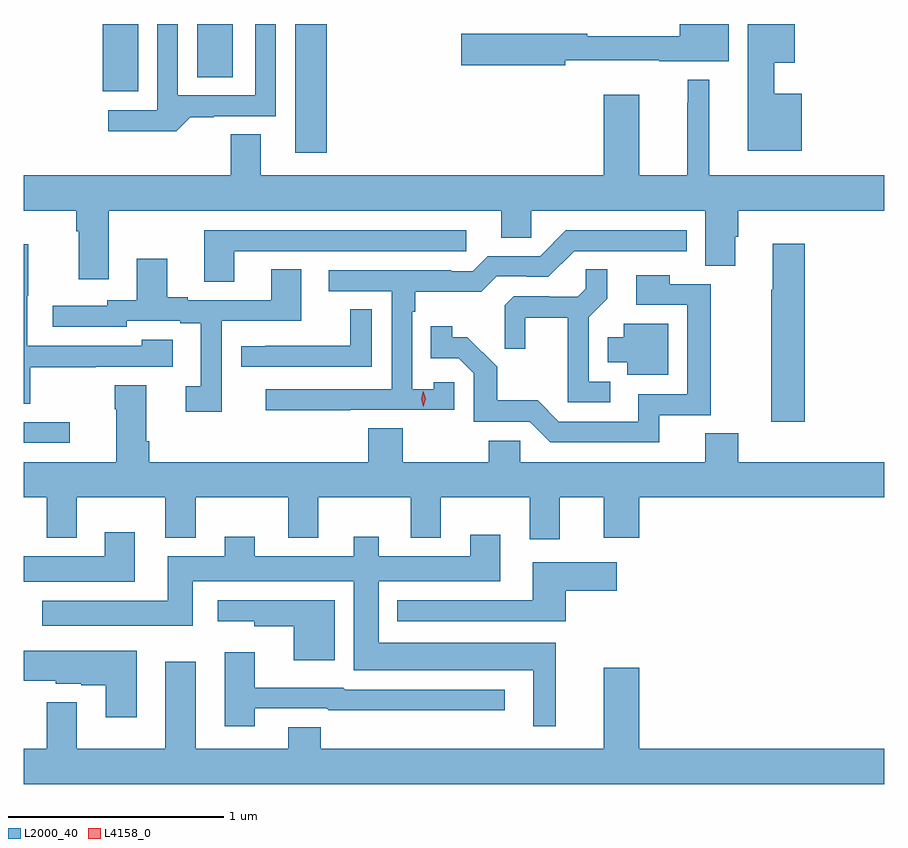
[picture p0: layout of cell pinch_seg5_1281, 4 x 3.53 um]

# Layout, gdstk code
import gdstk
lib = gdstk.Library(unit=1e-6, precision=1e-09)
def R(c, l, rs):  # rectangles x0, y0, x1, y1
    for r in rs: c.add(gdstk.rectangle(r[:2], r[2:], *l))
def P(c, l, *ps):  # polygons
    for p in ps: c.add(gdstk.Polygon(p, *l))
L2000_40 = (2000, 40)
L4158_0 = (4158, 0)

pinch_seg5_1281 = lib.new_cell('pinch_seg5_1281')
R(pinch_seg5_1281, L2000_40, [(426.048,859.677,426.262,859.773), (427.31,861.024,427.457,861.623), (426.416,861.311,426.58,861.623), (426.854,861.376,427.021,861.623)])
P(pinch_seg5_1281, L2000_40, [(426.823,861.19),(426.931,861.19),(426.931,861.195),(427.221,861.195),(427.221,861.623),(427.125,861.623),(427.125,861.291),(426.765,861.291),(426.765,861.623),(426.669,861.623),(426.669,861.222),(426.441,861.222),(426.441,861.125),(426.758,861.125)],
  [(429.664,861.298),(429.535,861.298),(429.535,861.443),(429.631,861.443),(429.631,861.623),(429.413,861.623),(429.413,861.035),(429.664,861.035)],
  [(428.566,861.455),(429.002,861.455),(429.002,861.449),(429.325,861.449),(429.325,861.623),(429.098,861.623),(429.098,861.565),(428.666,861.565),(428.666,861.578),(428.082,861.578),(428.082,861.431),(428.566,861.431)],
  [(426.445,860.756),(428.267,860.756),(428.267,860.629),(428.406,860.629),(428.406,860.756),(429.215,860.756),(429.215,860.5),(429.355,860.5),(429.355,860.634),(429.368,860.634),(429.368,860.756),(430.048,860.756),(430.048,860.92),(429.235,860.92),(429.235,861.364),(429.133,861.364),(429.133,861.257),(429.131,861.257),(429.131,860.92),(428.908,860.92),(428.908,861.295),(428.744,861.295),(428.744,860.92),(427.15,860.92),(427.15,861.11),(427.01,861.11),(427.01,860.92),(426.048,860.92),(426.048,860.756),(426.293,860.756),(426.293,860.66),(426.305,860.66),(426.305,860.436),(426.445,860.436)],
  [(427.565,859.83),(428.049,859.83),(428.049,859.959),(427.953,859.959),(427.953,859.927),(427.854,859.927),(427.854,860.285),(427.867,860.285),(427.867,860.378),(428.174,860.378),(428.247,860.451),(428.386,860.451),(428.386,860.448),(428.487,860.448),(428.607,860.568),(429.13,860.568),(429.13,860.664),(428.568,860.664),(428.448,860.544),(428.205,860.544),(428.136,860.475),(428.036,860.475),(428.036,860.478),(427.467,860.478),(427.467,860.382),(427.758,860.382),(427.758,859.926),(427.173,859.926),(427.173,859.828),(427.565,859.828)],
  [(427.027,860.568),(428.104,860.568),(428.104,860.664),(426.887,860.664),(426.887,860.425),(427.027,860.425)],
  [(429.677,860.602),(429.53,860.602),(429.53,860.389),(429.523,860.389),(429.523,859.776),(429.677,859.776)],
  [(426.079,860.029),(426.383,860.029),(426.383,860.031),(426.742,860.031),(426.742,860.155),(426.597,860.155),(426.597,860.127),(426.066,860.127),(426.066,860.36),(426.069,860.36),(426.069,860.599),(426.048,860.599),(426.048,859.858),(426.079,859.858)],
  [(426.969,860.244),(427.339,860.244),(427.339,860.483),(427.199,860.483),(427.199,860.34),(426.811,860.34),(426.811,860.353),(426.715,860.353),(426.715,860.533),(426.575,860.533),(426.575,860.34),(426.438,860.34),(426.438,860.313),(426.183,860.313),(426.183,860.217),(426.528,860.217),(426.528,860.244),(426.776,860.244),(426.776,860.232),(426.872,860.232),(426.872,859.941),(426.801,859.941),(426.801,859.821),(426.969,859.821)],
  [(428.773,859.962),(428.673,859.962),(428.673,860.261),(428.759,860.347),(428.759,860.483),(428.661,860.483),(428.661,860.392),(428.624,860.355),(428.49,860.355),(428.49,860.358),(428.325,860.358),(428.284,860.317),(428.284,860.115),(428.378,860.115),(428.378,860.258),(428.576,860.258),(428.576,859.866),(428.773,859.866)],
  [(429.002,859.806),(429.241,859.806),(429.241,860.415),(429.051,860.415),(429.051,860.455),(428.895,860.455),(428.895,860.319),(429.132,860.319),(429.132,859.902),(428.903,859.902),(428.903,859.776),(428.535,859.776),(428.437,859.875),(428.248,859.875),(428.248,860.03),(428.11,860.168),(428.04,860.168),(428.04,860.218),(427.939,860.218),(427.939,860.07),(428.07,860.07),(428.139,860.001),(428.139,859.776),(428.4,859.776),(428.496,859.68),(429.002,859.68)],
  [(427.665,860.297),(427.567,860.297),(427.567,860.127),(427.171,860.127),(427.171,860.126),(427.059,860.126),(427.059,860.031),(427.665,860.031)],
  [(429.043,860.23),(428.837,860.23),(428.837,860.167),(428.762,860.167),(428.762,860.051),(428.852,860.051),(428.852,859.994),(429.043,859.994)],
  [(428.355,859.686),(428.209,859.686),(428.209,859.588),(427.809,859.588),(427.809,859.745),(427.649,859.745),(427.649,859.588),(426.632,859.588),(426.632,859.684),(426.619,859.684),(426.619,859.945),(426.472,859.945),(426.472,859.832),(426.479,859.832),(426.479,859.588),(426.048,859.588),(426.048,859.424),(426.155,859.424),(426.155,859.235),(426.295,859.235),(426.295,859.424),(426.707,859.424),(426.707,859.235),(426.847,859.235),(426.847,859.424),(427.277,859.424),(427.277,859.235),(427.417,859.235),(427.417,859.424),(427.847,859.424),(427.847,859.235),(427.987,859.235),(427.987,859.424),(428.399,859.424),(428.399,859.23),(428.539,859.23),(428.539,859.424),(428.744,859.424),(428.744,859.236),(428.908,859.236),(428.908,859.424),(430.048,859.424),(430.048,859.588),(429.368,859.588),(429.368,859.721),(429.215,859.721),(429.215,859.588),(428.355,859.588)],
  [(426.565,859.261),(426.425,859.261),(426.425,859.15),(426.048,859.15),(426.048,859.031),(426.565,859.031)],
  [(428.521,858.748),(427.699,858.748),(427.699,859.034),(428.263,859.034),(428.263,859.249),(428.123,859.249),(428.123,859.15),(427.699,859.15),(427.699,859.24),(427.583,859.24),(427.583,859.15),(427.123,859.15),(427.123,859.24),(426.983,859.24),(426.983,859.15),(426.719,859.15),(426.719,858.943),(426.135,858.943),(426.135,858.827),(426.835,858.827),(426.835,859.034),(427.583,859.034),(427.583,858.62),(428.417,858.62),(428.417,858.36),(428.521,858.36)],
  [(428.567,858.989),(428.803,858.989),(428.803,859.123),(428.414,859.123),(428.414,858.945),(427.784,858.945),(427.784,858.849),(428.567,858.849)],
  [(427.495,858.946),(427.219,858.946),(427.219,858.945),(426.951,858.945),(426.951,858.848),(427.119,858.848),(427.119,858.824),(427.304,858.824),(427.304,858.668),(427.495,858.668)],
  [(426.574,858.712),(426.048,858.712),(426.048,858.572),(426.198,858.572),(426.198,858.557),(426.317,858.557),(426.317,858.55),(426.431,858.55),(426.431,858.402),(426.574,858.402)],
  [(427.123,858.444),(427.455,858.444),(427.465,858.434),(428.284,858.434),(428.284,858.531),(427.542,858.531),(427.533,858.54),(427.123,858.54),(427.123,858.703),(426.983,858.703),(426.983,858.36),(427.123,858.36)],
  [(430.048,858.256),(428.908,858.256),(428.908,858.631),(428.744,858.631),(428.744,858.256),(427.43,858.256),(427.43,858.355),(427.277,858.355),(427.277,858.256),(426.847,858.256),(426.847,858.661),(426.707,858.661),(426.707,858.256),(426.295,858.256),(426.295,858.472),(426.155,858.472),(426.155,858.256),(426.048,858.256),(426.048,858.092),(430.048,858.092)])
P(pinch_seg5_1281, L4158_0, [(427.906,859.845),(427.906,859.845),(427.896,859.881),(427.906,859.917),(427.906,859.917),(427.906,859.917),(427.916,859.881),(427.906,859.845)])

lib.write_gds('pinch_seg5_1281.gds')
